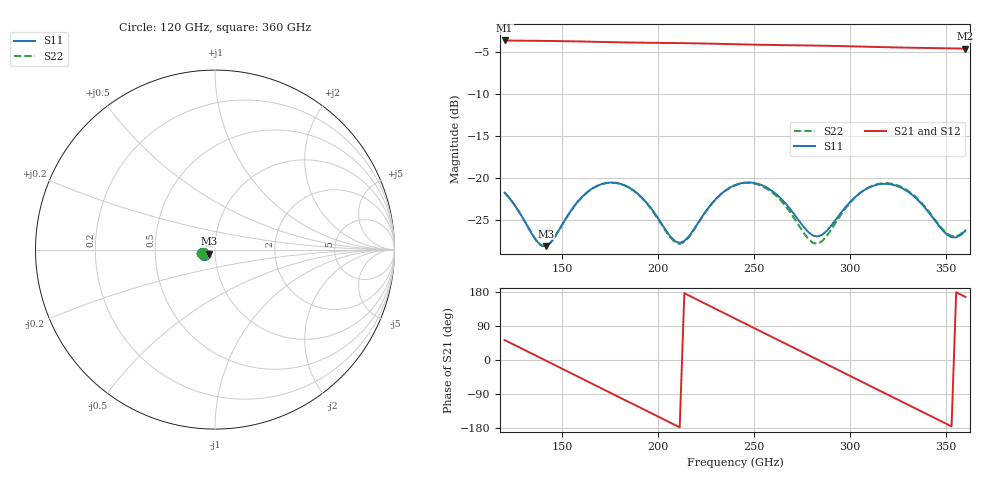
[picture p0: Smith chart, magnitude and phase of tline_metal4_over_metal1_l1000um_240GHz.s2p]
#  GHZ S DB R 50
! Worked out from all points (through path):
!   101 points, 120 GHz to 360 GHz, reference 50 ohm
!   highest |S21| = -3.60 dB at 120 GHz (marker M1); lowest = -4.6 dB at 360 GHz (marker M2)
!   group delay of S21, straight-line fit = 7.02 ps
!   lowest |S11| = -28.1 dB at 141.6 GHz (marker M3), VSWR 1.08, Z = 46.8 - j2.04 ohm
!   |S11| at or under -10 dB: start of sweep to end of sweep
!   |S22| runs from -28.2 to -20.6 dB; largest |S21 - S12| = 7.6e-14
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120  -21.75 -166.5  -3.60 52.6  -3.60 52.6  -21.76 -166.7
132  -25.80 -171.4  -3.63 22.4  -3.63 22.4  -25.81 -171.6
141.6  -28.13 -146.3  -3.65 -1.8  -3.65 -1.8  -28.16 -146.4
160.8  -22.17 -132.2  -3.72 -50.5  -3.72 -50.5  -22.19 -132.1
170.4  -20.75 -145.4  -3.77 -74.8  -3.77 -74.8  -20.77 -145.3
180  -20.69 -160.3  -3.82 -99.0  -3.82 -99.0  -20.71 -160.2
189.6  -21.94 -173.4  -3.86 -123.1  -3.86 -123.1  -21.98 -173.3
201.6  -25.43 -178.0  -3.89 -153.4  -3.89 -153.4  -25.51 -177.9
211.2  -27.75 -157.0  -3.91 -177.7  -3.91 -177.7  -27.88 -156.4
220.8  -25.37 -136.3  -3.95 158.0  -3.95 158.0  -25.42 -135.4
240  -20.86 -149.8  -4.05 109.4  -4.05 109.4  -20.90 -149.4
249.6  -20.59 -163.5  -4.09 85.2  -4.09 85.2  -20.67 -163.5
259.2  -21.54 -176.0  -4.13 61.0  -4.13 61.0  -21.71 -176.4
271.2  -24.46 177.6  -4.17 30.7  -4.17 30.7  -24.95 177.0
280.8  -26.91 -168.0  -4.20 6.5  -4.20 6.5  -27.79 -165.6
292.8  -24.90 -144.4  -4.26 -23.9  -4.26 -23.9  -25.22 -138.4
304.8  -21.86 -148.5  -4.32 -54.3  -4.32 -54.3  -21.87 -143.5
321.6  -20.79 -169.7  -4.42 -96.6  -4.42 -96.6  -20.70 -165.6
331.2  -21.83 178.7  -4.46 -120.8  -4.46 -120.8  -21.72 -177.4
343.2  -24.81 174.0  -4.51 -151.0  -4.51 -151.0  -24.69 177.6
352.8  -27.09 -170.2  -4.54 -175.3  -4.54 -175.3  -26.97 -166.7
360  -26.31 -153.0  -4.58 166.5  -4.58 166.5  -26.19 -149.5
